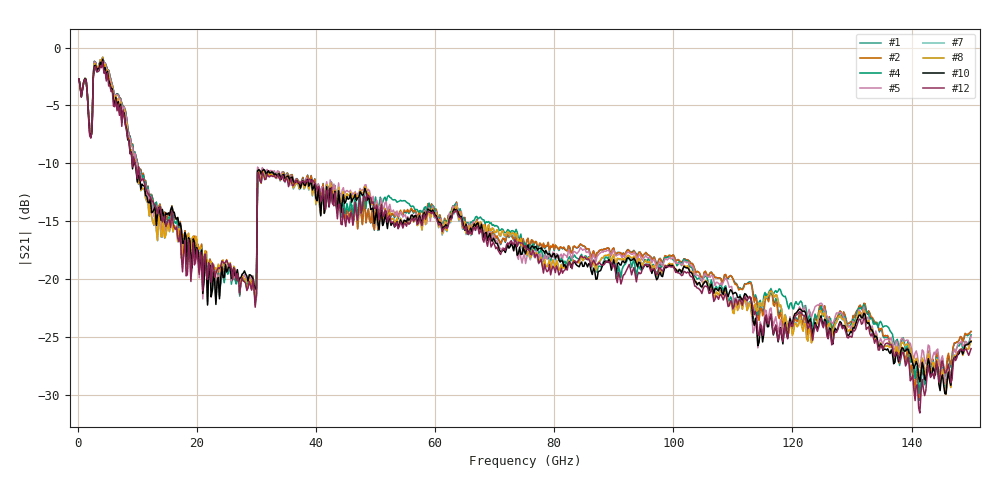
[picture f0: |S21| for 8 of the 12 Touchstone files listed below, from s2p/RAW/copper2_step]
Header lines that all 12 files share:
!  2-Port S-parameters saved by WinCal
! VAR MeasName=S-Parameters (CALIBRATED_DATA) read from VNA (MS4647B)
! VAR PHYS_PORTS=1,2
! VAR ObjTypeName=DATASET
! VAR IndexType=Frequency
! VAR ChuckHeaterState=Unknown
! VAR ChuckTemp=NaN
! VAR ChuckTempUnits=Unknown
# Hz S RI R 50
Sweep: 200 MHz to 150 GHz
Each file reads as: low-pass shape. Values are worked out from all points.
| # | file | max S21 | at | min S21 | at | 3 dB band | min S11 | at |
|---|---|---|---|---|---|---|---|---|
| 1 | RAW_step_0_0mm_1.s2p | -0.86 dB | 4.2 GHz | -30.5 dB | 141.4 GHz | 2.6 GHz-6 GHz | -47.7 dB | 21.4 GHz |
| 2 | RAW_step_0_0mm_2.s2p | -0.86 dB | 4.2 GHz | -30.3 dB | 141.4 GHz | 2.6 GHz-6 GHz | -48.0 dB | 21.4 GHz |
| 3 | RAW_step_0_5mm_1.s2p | -0.85 dB | 4.2 GHz | -29.7 dB | 141.4 GHz | 2.6 GHz-6 GHz | -43.6 dB | 86.2 GHz |
| 4 | RAW_step_0_5mm_2.s2p | -0.84 dB | 4.2 GHz | -29.9 dB | 141.4 GHz | 2.6 GHz-6 GHz | -47.8 dB | 70.6 GHz |
| 5 | RAW_step_1_0mm_1.s2p | -0.84 dB | 4.2 GHz | -29.1 dB | 146.6 GHz | 2.6 GHz-6 GHz | -46.1 dB | 84.4 GHz |
| 6 | RAW_step_1_0mm_2.s2p | -0.85 dB | 4.2 GHz | -28.9 dB | 146.6 GHz | 2.6 GHz-6 GHz | -56.8 dB | 93.4 GHz |
| 7 | RAW_step_3_0mm_1.s2p | -0.89 dB | 4.2 GHz | -29.8 dB | 145.8 GHz | 2.6 GHz-5.8 GHz | -50.5 dB | 20.6 GHz |
| 8 | RAW_step_3_0mm_2.s2p | -0.85 dB | 4.2 GHz | -30.0 dB | 145.8 GHz | 2.6 GHz-5.8 GHz | -49.3 dB | 20.6 GHz |
| 9 | RAW_step_5_0mm_1.s2p | -1.03 dB | 4.2 GHz | -30.1 dB | 145.6 GHz | 2.6 GHz-5.8 GHz | -52.7 dB | 47 GHz |
| 10 | RAW_step_5_0mm_2.s2p | -1.00 dB | 4.2 GHz | -29.9 dB | 145.8 GHz | 2.6 GHz-5.8 GHz | -48.8 dB | 14.8 GHz |
| 11 | RAW_step_6_5mm_1.s2p | -1.30 dB | 4.2 GHz | -31.8 dB | 141.4 GHz | 2.6 GHz-5.8 GHz | -46.3 dB | 21.2 GHz |
| 12 | RAW_step_6_5mm_2.s2p | -1.22 dB | 4.2 GHz | -31.6 dB | 141.4 GHz | 2.6 GHz-5.8 GHz | -48.4 dB | 21.2 GHz |
